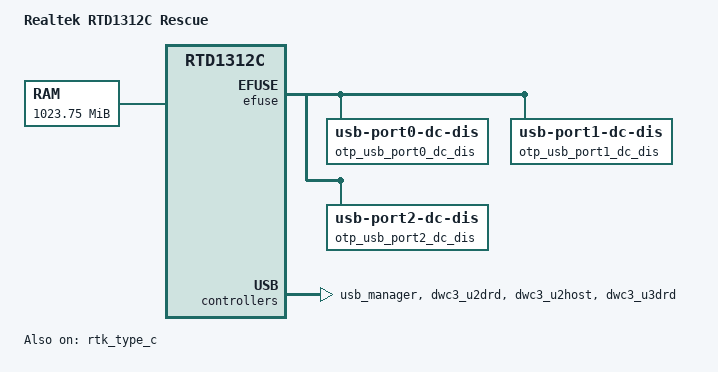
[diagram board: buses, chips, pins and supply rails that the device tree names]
// SPDX-License-Identifier: (GPL-2.0-or-later OR BSD-2-Clause)
/*
 * Copyright (c) 2019-2021 Realtek Semiconductor Corp.
 */

/dts-v1/;

#include "rtd13xx-rescue.dtsi"

/ {
	model = "Realtek RTD1312C Rescue";
	compatible = "realtek,rescue", "realtek,rtd1312c";

	memory@40000 {
		device_type = "memory";
		reg = <0x00040000 0x3ffc0000>; /* 1 GiB */
	};

	chosen {
		bootargs = "earlycon=uart8250,mmio32,0x98007800 console=ttyS0,460800 init=/init androidboot.storage=emmc androidboot.hardware=groot NO_RESERVE";
	};
};

&emmc {
	compatible = "rtd1312c-dw-cqe-emmc";
};

&efuse {
	otp_usb_port0_dc_dis: usb-port0-dc-dis@4fe,0 {
		reg = <0x4fe 0x1>;
		bits = <0 4>;
	};
	otp_usb_port1_dc_dis: usb-port1-dc-dis@4fe,4 {
		reg = <0x4fe 0x1>;
		bits = <4 4>;
	};
	otp_usb_port2_dc_dis: usb-port2-dc-dis@4ff,0 {
		reg = <0x4ff 0x1>;
		bits = <0 4>;
	};
};

&usb_manager {
	status = "okay";

	gpio0: gpio0 {
		realtek,power-gpio = <&gpio 48 GPIO_ACTIVE_HIGH>;
		power_low_active;
	};

	gpio1: gpio1 {
		realtek,power-gpio = <&gpio 49 GPIO_ACTIVE_HIGH>;
		power_low_active;
	};

	port0 {
		usb = <&dwc3_u2drd>;
		usb_gpio = <&gpio0>;
	};

	port1 {
		usb = <&dwc3_u2host>;
		usb_gpio = <&gpio1>;
	};

	port2 {
		usb = <&dwc3_u3drd>;
		usb_gpio = <&gpio1>;
	};

	rtk_usb {
		type_c {
			realtek,connector_switch-gpio = <&gpio 30 GPIO_ACTIVE_HIGH>;
		};
	};
};

&dwc3_u2drd_usb2phy {
	nvmem-cells = <&otp_usb_port0_dc_cal>, <&otp_usb_port0_dc_dis>;
	nvmem-cell-names = "usb-dc-cal", "usb-dc-dis";
	/delete-node/phy0;
	phy0 {
		phy_data_page0_size = <16>;
		phy_data_page0_addr = /bits/ 8
			<0xE0 0xE1 0xE2 0xE3 0xE4 0xE5 0xE6 0xE7 0xF0 0xF1
			 0xF2 0xF3 0xF4 0xF5 0xF6 0xF7>;
		phy_data_page0_A00 = /bits/ 8
			<0x14 0x30 0x79 0x8D 0x67 0x55 0x01 0x81 0xEC 0x8C
			 0x00 0x11 0x9B 0x15 0x00 0x0A>;
		phy_data_page1_size = <8>;
		phy_data_page1_addr = /bits/ 8
			<0xE0 0xE1 0xE2 0xE3 0xE4 0xE5 0xE6 0xE7>;
		phy_data_page1_A00 = /bits/ 8
			<0x25 0xEF 0x60 0x23 0x00 0x0F 0x58 0xE3>;
		phy_data_page2_size = <1>;
		phy_data_page2_addr = /bits/ 8
			<0xE0>;
		phy_data_page2_A00 = /bits/ 8
			<0x00>;
		do_toggle;
		do_toggle_driving;
		check_efuse;
		usb_dc_cal_mask = <0xf>;
		//use_default_parameter;
		is_double_sensitivity_mode;
		ldo_force_enable;
	};
};

&dwc3_u2drd {
	status = "okay";

	dwc3_u2drd@98020000 {
		dr_mode = "peripheral"; /*host, peripheral*/
		status = "okay";
	};
};

&dwc3_u2host_usb2phy {
	nvmem-cells = <&otp_usb_port1_dc_cal>, <&otp_usb_port1_dc_dis>;
	nvmem-cell-names = "usb-dc-cal", "usb-dc-dis";
	/delete-node/phy0;
	phy0 {
		phy_data_page0_size = <16>;
		phy_data_page0_addr = /bits/ 8
			<0xE0 0xE1 0xE2 0xE3 0xE4 0xE5 0xE6 0xE7 0xF0 0xF1
			 0xF2 0xF3 0xF4 0xF5 0xF6 0xF7>;
		phy_data_page0_A00 = /bits/ 8
			<0x14 0x30 0x79 0x8D 0x67 0x55 0x01 0x81 0xEC 0x8C
			 0x00 0x11 0x9B 0x15 0x00 0x0A>;
		phy_data_page1_size = <8>;
		phy_data_page1_addr = /bits/ 8
			<0xE0 0xE1 0xE2 0xE3 0xE4 0xE5 0xE6 0xE7>;
		phy_data_page1_A00 = /bits/ 8
			<0x25 0xEF 0x60 0x23 0x00 0x0F 0x58 0xE3>;
		phy_data_page2_size = <1>;
		phy_data_page2_addr = /bits/ 8
			<0xE0>;
		phy_data_page2_A00 = /bits/ 8
			<0x00>;
		do_toggle;
		do_toggle_driving;
		check_efuse;
		usb_dc_cal_mask = <0xf>;
		//use_default_parameter;
		is_double_sensitivity_mode;
		ldo_force_enable;
	};
};

&dwc3_u2host {
	status = "okay";
};

&dwc3_u3drd_usb2phy {
	nvmem-cells = <&otp_usb_port2_dc_cal>, <&otp_usb_port2_dc_dis>;
	nvmem-cell-names = "usb-dc-cal", "usb-dc-dis";
	/delete-node/phy0;
	phy0 {
		phy_data_page0_size = <16>;
		phy_data_page0_addr = /bits/ 8
			<0xE0 0xE1 0xE2 0xE3 0xE4 0xE5 0xE6 0xE7 0xF0 0xF1
			 0xF2 0xF3 0xF4 0xF5 0xF6 0xF7>;
		phy_data_page0_A00 = /bits/ 8
			<0x14 0x30 0x79 0x8D 0x67 0x55 0x01 0x81 0xEC 0x8C
			 0x00 0x11 0x9B 0x15 0x00 0x0A>;
		phy_data_page1_size = <8>;
		phy_data_page1_addr = /bits/ 8
			<0xE0 0xE1 0xE2 0xE3 0xE4 0xE5 0xE6 0xE7>;
		phy_data_page1_A00 = /bits/ 8
			<0x25 0xEF 0x60 0x23 0x00 0x0F 0x58 0xE3>;
		phy_data_page2_size = <1>;
		phy_data_page2_addr = /bits/ 8
			<0xE0>;
		phy_data_page2_A00 = /bits/ 8
			<0x00>;
		do_toggle;
		do_toggle_driving;
		check_efuse;
		usb_dc_cal_mask = <0xf>;
		//use_default_parameter;
		is_double_sensitivity_mode;
		ldo_force_enable;
	};
};

&dwc3_u3drd_usb3phy {
	status = "disable";
};

&dwc3_u3drd {
	status = "okay";

	dwc3_u3drd@981f0000 {
		dr_mode = "host"; /*host, peripheral*/
		usb-phy = <&dwc3_u3drd_usb2phy>;
		status = "okay";
	};

};

&rtk_type_c {
	status = "okay";

	dwc3_rtk = <&dwc3_u2drd>;

	boot_check_time = <30000>; /*ms (At boot Device switch Host time)*/

	default_revision = <0xA00>;
	A00 {
		cc_dfp_mode = "dfp_3_0"; /*dfp_3_0, dfp_1_5, dfp_usb*/
		cc1_rp_4p7k_code = <0xE>;
		cc1_rp_36k_code = <0xC>;
		cc1_rp_12k_code = <0xC>;
		cc1_rd_code = <0xA>;
		cc1_ra_code = <0x3>;
		cc1_vref_ufp = /bits/ 8
			<0x7 0x7 0x4>; /*<1p23v,0p66v,0p2v>*/
		cc1_vref_dfp_usb = /bits/ 8
			<0x7 0x4 0x0>; /*<0_1p6v,0p2v,unused>*/
		cc1_vref_dfp_1_5 = /bits/ 8
			<0x7 0x4 0x4>; /*<1_1p6v,0p4v,0p2v>*/
		cc1_vref_dfp_3_0 = /bits/ 8
			<0xa 0x7 0x4>; /*<2p6v,0p8v,0p2v>*/
		cc2_rp_4p7k_code = <0xE>;
		cc2_rp_36k_code = <0xC>;
		cc2_rp_12k_code = <0xC>;
		cc2_rd_code = <0xA>;
		cc2_ra_code = <0x3>;
		cc2_vref_ufp = /bits/ 8
			<0x7 0x7 0x4>; /*<1p23v,0p66v,0p2v>*/
		cc2_vref_dfp_usb = /bits/ 8
			<0x7 0x4 0x0>; /*<0_1p6v,0p2v,unused>*/
		cc2_vref_dfp_1_5 = /bits/ 8
			<0x7 0x4 0x4>; /*<1_1p6v,0p4v,0p2v>*/
		cc2_vref_dfp_3_0 = /bits/ 8
			<0xa 0x7 0x4>; /*<2p6v,0p8v,0p2v>*/
	};
};

/delete-node/ &nic;
/delete-node/ &sd;
/delete-node/ &pcie_trans;
/delete-node/ &pcie;
/delete-node/ &pcie1;
/delete-node/ &pcie2;
/delete-node/ &pcie0_phy;
/delete-node/ &pcie1_phy;
/delete-node/ &pcie2_phy;
